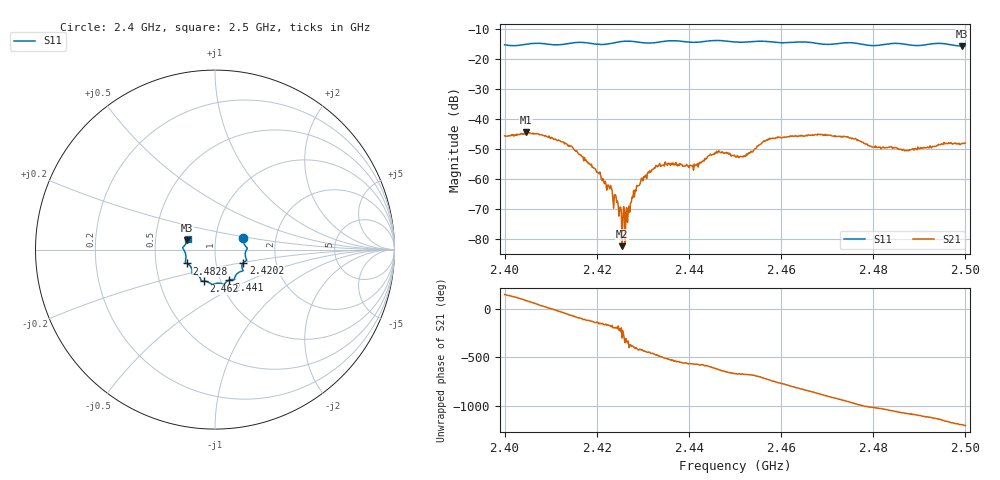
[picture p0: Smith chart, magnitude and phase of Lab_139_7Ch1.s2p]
# Hz S RI R 50
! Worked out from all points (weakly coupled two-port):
!   601 points, 2.4 GHz to 2.5 GHz, reference 50 ohm
!   highest |S21| = -44.55 dB at 2.4047 GHz (marker M1); lowest = -82.5 dB at 2.4255 GHz (marker M2)
!   lowest |S11| = -15.8 dB at 2.4993 GHz (marker M3), VSWR 1.39, Z = 36.5 + j3.91 ohm
!   |S11| at or under -10 dB: start of sweep to end of sweep
!   S12 and S22 are empty: the file has one direction only
!   S11 on the Smith chart (normalised r, x): 2.4 GHz: 1.36, +0.17; 2.4202 GHz: 1.36, -0.20; 2.441 GHz: 1.10, -0.39; 2.462 GHz: 0.84, -0.30; 2.4828 GHz: 0.72, -0.11; 2.5 GHz: 0.73, +0.09
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2.4e9  0.158 0.0621  -0.00431 0.0029  0 0  0 0
2.404667e9  0.1733 0.0159  0.000758 0.00588  0 0  0 0
2.412333e9  0.1688 -0.0325  0.00342 -0.00228  0 0  0 0
2.416667e9  0.1767 -0.0605  -0.000451 -0.00234  0 0  0 0
2.420167e9  0.1579 -0.0719  -0.000974 -0.000838  0 0  0 0
2.422833e9  0.1496 -0.0965  -0.000671 -9.28e-05  0 0  0 0
2.4255e9  0.1555 -0.1157  3.94e-05 6.39e-05  0 0  0 0
2.425833e9  0.1559 -0.1168  1.65e-05 0.000342  0 0  0 0
2.426667e9  0.1562 -0.1183  0.000184 3.03e-05  0 0  0 0
2.429167e9  0.1434 -0.1216  0.000339 -0.000689  0 0  0 0
2.433333e9  0.1117 -0.1511  -0.000878 -0.00136  0 0  0 0
2.441e9  0.078 -0.1701  -0.00119 0.000712  0 0  0 0
2.446167e9  0.0497 -0.1949  -0.000398 0.00266  0 0  0 0
2.45e9  0.0278 -0.1876  0.00148 0.00186  0 0  0 0
2.452333e9  0.00475 -0.189  0.00173 0.00165  0 0  0 0
2.457333e9  -0.0217 -0.191  0.00438 -0.000896  0 0  0 0
2.462e9  -0.0608 -0.1756  0.00134 -0.00499  0 0  0 0
2.466667e9  -0.0787 -0.1678  -0.00372 -0.00378  0 0  0 0
2.482833e9  -0.1571 -0.077  0.00249 0.00217  0 0  0 0
2.483333e9  -0.1602 -0.0754  0.00278 0.00187  0 0  0 0
2.499333e9  -0.1541 0.0521  -0.00158 -0.0035  0 0  0 0
2.5e9  -0.1524 0.0615  -0.0021 -0.00334  0 0  0 0
